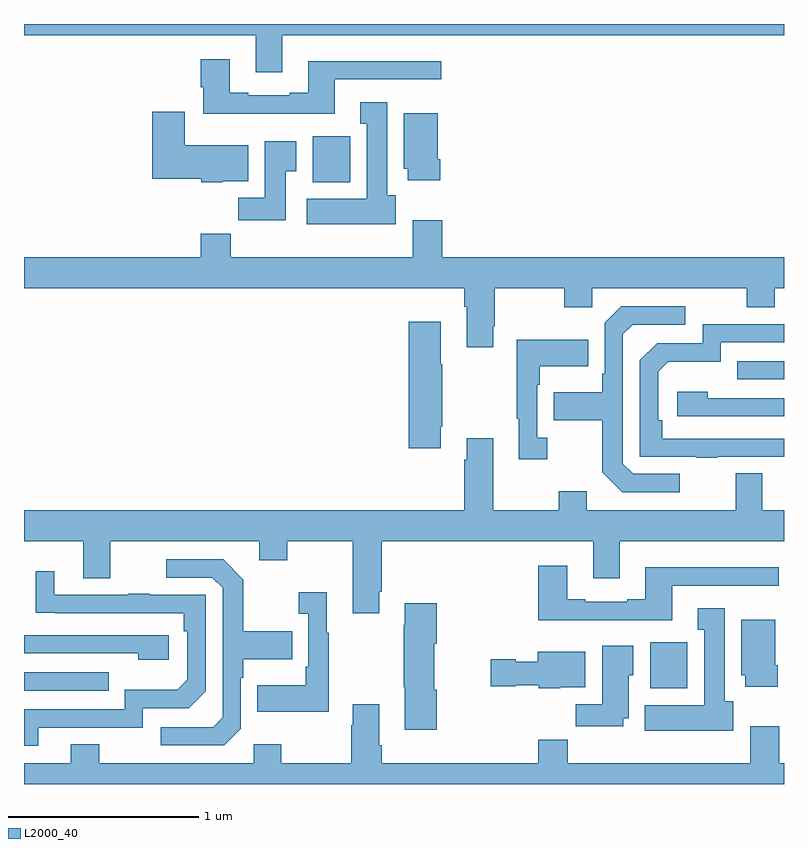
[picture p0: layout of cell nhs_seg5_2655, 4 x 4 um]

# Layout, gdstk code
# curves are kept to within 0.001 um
import gdstk
lib = gdstk.Library(unit=1e-6, precision=1e-09)
def R(c, l, rs):  # rectangles x0, y0, x1, y1
    for r in rs: c.add(gdstk.rectangle(r[:2], r[2:], *l))
def P(c, l, *ps):  # polygons
    for p in ps: c.add(gdstk.Polygon(p, *l))
L2000_40 = (2000, 40)

nhs_seg5_2655 = lib.new_cell('nhs_seg5_2655')
R(nhs_seg5_2655, L2000_40, [(265,873.291,265.445,873.387), (268.295,873.302,268.492,873.544), (268.753,874.929,269,875.025), (266.519,875.966,266.716,876.208)])
P(nhs_seg5_2655, L2000_40, [(266.359,876.74),(269,876.74),(269,876.799),(265,876.799),(265,876.74),(266.219,876.74),(266.219,876.546),(266.359,876.546)],
  [(266.635,876.507),(267.196,876.507),(267.196,876.604),(266.495,876.604),(266.495,876.436),(266.399,876.436),(266.399,876.423),(266.179,876.423),(266.179,876.436),(266.083,876.436),(266.083,876.613),(265.931,876.613),(265.931,876.465),(265.943,876.465),(265.943,876.326),(266.635,876.326)],
  [(266.956,875.898),(266.911,875.898),(266.911,876.388),(266.771,876.388),(266.771,876.275),(266.804,876.275),(266.804,875.878),(266.487,875.878),(266.487,875.744),(266.956,875.744)],
  [(266.046,875.972),(266.179,875.972),(266.179,876.16),(265.846,876.16),(265.846,876.337),(265.676,876.337),(265.676,875.984),(265.932,875.984),(265.932,875.966),(266.046,875.966)],
  [(267.191,876.088),(267.178,876.088),(267.178,876.328),(266.999,876.328),(266.999,876.036),(267.02,876.036),(267.02,875.976),(267.191,875.976)],
  [(266.377,876.025),(266.434,876.025),(266.434,876.181),(266.267,876.181),(266.267,875.884),(266.128,875.884),(266.128,875.766),(266.377,875.766)],
  [(267.469,875.209),(267.477,875.209),(267.477,875.408),(267.844,875.408),(267.844,875.309),(267.99,875.309),(267.99,875.408),(268.804,875.408),(268.804,875.309),(268.951,875.309),(268.951,875.408),(269,875.408),(269,875.572),(267.2,875.572),(267.2,875.767),(267.047,875.767),(267.047,875.572),(266.087,875.572),(266.087,875.696),(265.931,875.696),(265.931,875.572),(265,875.572),(265,875.408),(267.317,875.408),(267.317,875.312),(267.329,875.312),(267.329,875.097),(267.469,875.097)],
  [(268.45,874.431),(268.206,874.431),(268.152,874.485),(268.152,875.166),(268.203,875.217),(268.48,875.217),(268.48,875.313),(268.143,875.313),(268.056,875.226),(268.056,874.957),(268.044,874.957),(268.044,874.861),(267.787,874.861),(267.787,874.714),(268.044,874.714),(268.044,874.441),(268.149,874.335),(268.45,874.335)],
  [(267.193,874.678),(267.201,874.678),(267.201,875.009),(267.193,875.009),(267.193,875.233),(267.026,875.233),(267.026,874.566),(267.193,874.566)],
  [(268.649,874.521),(269,874.521),(269,874.617),(268.358,874.617),(268.358,874.714),(268.338,874.714),(268.338,874.968),(268.391,875.021),(268.668,875.021),(268.668,875.124),(269,875.124),(269,875.22),(268.572,875.22),(268.572,875.118),(268.332,875.118),(268.242,875.028),(268.242,874.521),(268.537,874.521),(268.537,874.516),(268.649,874.516)],
  [(267.754,874.622),(267.702,874.622),(267.702,874.901),(267.715,874.901),(267.715,874.997),(267.971,874.997),(267.971,875.137),(267.594,875.137),(267.594,874.721),(267.605,874.721),(267.605,874.509),(267.754,874.509)],
  [(269,874.83),(268.598,874.83),(268.598,874.864),(268.437,874.864),(268.437,874.734),(269,874.734)],
  [(266.869,873.811),(266.882,873.811),(266.882,874.076),(267.995,874.076),(267.995,873.882),(268.135,873.882),(268.135,874.076),(269,874.076),(269,874.24),(268.885,874.24),(268.885,874.435),(268.745,874.435),(268.745,874.24),(267.961,874.24),(267.961,874.339),(267.814,874.339),(267.814,874.24),(267.469,874.24),(267.469,874.618),(267.329,874.618),(267.329,874.505),(267.317,874.505),(267.317,874.24),(265,874.24),(265,874.076),(265.313,874.076),(265.313,873.882),(265.453,873.882),(265.453,874.076),(266.237,874.076),(266.237,873.977),(266.385,873.977),(266.385,874.076),(266.729,874.076),(266.729,873.699),(266.869,873.699)],
  [(266.142,873.09),(266.142,873.359),(266.155,873.359),(266.155,873.455),(266.411,873.455),(266.411,873.603),(266.155,873.603),(266.155,873.875),(266.049,873.981),(265.749,873.981),(265.749,873.885),(265.992,873.885),(266.046,873.831),(266.046,873.15),(265.995,873.099),(265.719,873.099),(265.719,873.003),(266.055,873.003)],
  [(268.411,873.843),(268.972,873.843),(268.972,873.94),(268.271,873.94),(268.271,873.772),(268.175,873.772),(268.175,873.759),(267.955,873.759),(267.955,873.772),(267.859,873.772),(267.859,873.949),(267.707,873.949),(267.707,873.662),(268.411,873.662)],
  [(265.075,873.096),(265.626,873.096),(265.626,873.198),(265.866,873.198),(265.956,873.288),(265.956,873.795),(265.661,873.795),(265.661,873.8),(265.549,873.8),(265.549,873.795),(265.159,873.795),(265.159,873.919),(265.063,873.919),(265.063,873.7),(265.84,873.699),(265.84,873.602),(265.86,873.602),(265.86,873.348),(265.807,873.295),(265.53,873.295),(265.53,873.192),(265,873.192),(265,873),(265.075,873)],
  [(266.605,873.595),(266.593,873.595),(266.593,873.808),(266.445,873.808),(266.445,873.695),(266.496,873.695),(266.496,873.415),(266.484,873.415),(266.484,873.319),(266.227,873.319),(266.227,873.179),(266.605,873.179)],
  [(267.173,873.296),(267.16,873.296),(267.16,873.538),(267.173,873.538),(267.173,873.751),(267.005,873.751),(267.005,873.638),(266.998,873.638),(266.998,873.307),(267.005,873.307),(267.005,873.084),(267.173,873.084)],
  [(268.732,873.234),(268.687,873.234),(268.687,873.724),(268.547,873.724),(268.547,873.611),(268.58,873.611),(268.58,873.214),(268.268,873.214),(268.268,873.08),(268.732,873.08)],
  [(268.967,873.424),(268.954,873.424),(268.954,873.664),(268.775,873.664),(268.775,873.372),(268.796,873.372),(268.796,873.312),(268.967,873.312)],
  [(265.762,873.582),(265,873.582),(265,873.486),(265.601,873.486),(265.601,873.452),(265.762,873.452)],
  [(268.153,873.146),(268.183,873.146),(268.183,873.372),(268.207,873.372),(268.207,873.526),(268.043,873.526),(268.043,873.22),(267.904,873.22),(267.904,873.102),(268.153,873.102)],
  [(267.822,873.308),(267.955,873.308),(267.955,873.496),(267.704,873.496),(267.704,873.442),(267.588,873.442),(267.588,873.455),(267.456,873.455),(267.456,873.313),(267.588,873.313),(267.588,873.32),(267.708,873.32),(267.708,873.302),(267.822,873.302)],
  [(266.729,873.22),(266.729,873.107),(266.722,873.107),(266.722,872.908),(266.355,872.908),(266.355,873.007),(266.208,873.007),(266.208,872.908),(265.395,872.908),(265.395,873.007),(265.247,873.007),(265.247,872.908),(265,872.908),(265,872.799),(269,872.799),(269,872.908),(268.976,872.908),(268.976,873.103),(268.823,873.103),(268.823,872.908),(267.863,872.908),(267.863,873.032),(267.707,873.032),(267.707,872.908),(266.882,872.908),(266.882,873.004),(266.869,873.004),(266.869,873.22)])

lib.write_gds('nhs_seg5_2655.gds')
